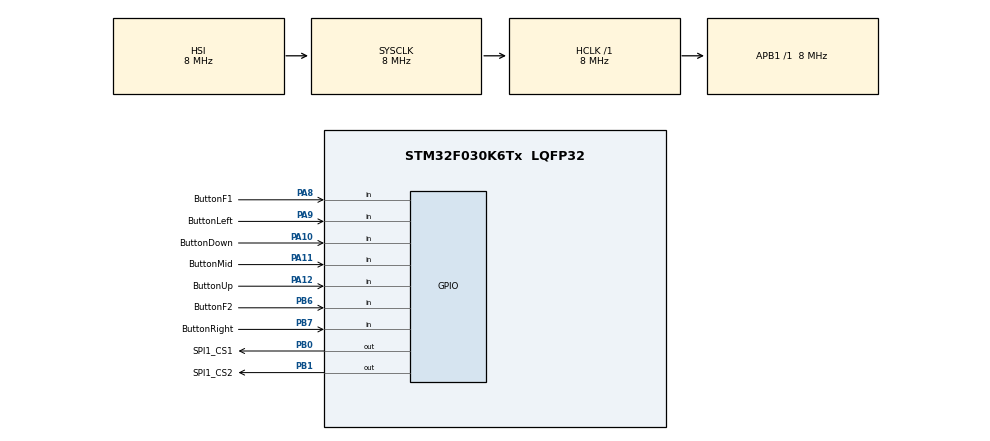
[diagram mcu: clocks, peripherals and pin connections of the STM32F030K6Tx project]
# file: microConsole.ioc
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Mcu.Family=STM32F0
Mcu.Name=STM32F030K6Tx
Mcu.Package=LQFP32
NVIC.TIM14_IRQn=true\:0\:0\:false\:false\:true\:true\:true\:true
NVIC.TIM16_IRQn=true\:0\:0\:false\:false\:true\:true\:true\:true
NVIC.TIM17_IRQn=true\:0\:0\:true\:false\:true\:true\:true\:true
PA10.GPIO_Label=ButtonDown
PA10.GPIO_PuPd=GPIO_PULLUP
PA10.Signal=GPIO_Input
PA11.GPIO_Label=ButtonMid
PA11.GPIO_PuPd=GPIO_PULLUP
PA11.Signal=GPIO_Input
PA12.GPIO_Label=ButtonUp
PA12.GPIO_PuPd=GPIO_PULLUP
PA12.Signal=GPIO_Input
PA8.GPIO_Label=ButtonF1
PA8.GPIO_Mode=GPIO_MODE_INPUT
PA8.GPIO_PuPd=GPIO_PULLUP
PA8.Signal=GPIO_Input
PA9.GPIO_Label=ButtonLeft
PA9.GPIO_PuPd=GPIO_PULLUP
PA9.Signal=GPIO_Input
PB0.GPIO_Label=SPI1_CS1
PB0.GPIO_Speed=GPIO_SPEED_FREQ_HIGH
PB0.PinState=GPIO_PIN_SET
PB0.Signal=GPIO_Output
PB1.GPIO_Label=SPI1_CS2
PB1.GPIO_Speed=GPIO_SPEED_FREQ_HIGH
PB1.PinState=GPIO_PIN_SET
PB1.Signal=GPIO_Output
PB6.GPIO_Label=ButtonF2
PB6.GPIO_PuPd=GPIO_PULLUP
PB6.Signal=GPIO_Input
PB7.GPIO_Label=ButtonRight
PB7.GPIO_PuPd=GPIO_PULLUP
PB7.Signal=GPIO_Input
ProjectManager.HeapSize=0x200
ProjectManager.StackSize=0x400
ProjectManager.TargetToolchain=STM32CubeIDE
RCC.AHBFreq_Value=8000000
RCC.APB1Freq_Value=8000000
RCC.APB1TimFreq_Value=8000000
RCC.HCLKFreq_Value=8000000
RCC.PLLMUL=RCC_PLL_MUL4
RCC.SYSCLKFreq_VALUE=8000000
TIM14.Period=7500-1
TIM14.Prescaler=800-1
TIM16.Period=250-1
TIM16.Prescaler=800-1
TIM17.Period=125-1
TIM17.Prescaler=80-1
VP_TIM14_VS_ClockSourceINT.Mode=Enable_Timer
VP_TIM16_VS_ClockSourceINT.Mode=Enable_Timer
VP_TIM17_VS_ClockSourceINT.Mode=Enable_Timer
board=custom

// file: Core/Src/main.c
/* USER CODE BEGIN Header */
/**
  ******************************************************************************
  * @file           : main.c
  * @brief          : Main program body
  ******************************************************************************
  * @attention
  *
  * Copyright (c) 2023 STMicroelectronics.
  * All rights reserved.
  *
  * This software is licensed under terms that can be found in the LICENSE file
  * in the root directory of this software component.
  * If no LICENSE file comes with this software, it is provided AS-IS.
  *
  ******************************************************************************
  */
/* USER CODE END Header */
#include "main.h"

/* USER CODE BEGIN Includes */
#include <stdbool.h>

#include "displayDriver.h"
#include "buttonDriver.h"
#include "gameWrapper.h"
#include "timers.h"

#include "string.h"
/* USER CODE END Includes */

TIM_HandleTypeDef htim14;
TIM_HandleTypeDef htim16;
TIM_HandleTypeDef htim17;

/* USER CODE BEGIN PV */
uint8_t dataRdy = 0;
bool timerTick = false;
int buttonsPressed[NUM_BUTTONS];
char buttonBindings[NUM_BUTTONS] = {BINDING_UP, BINDING_LEFT, BINDING_ROTATE_RIGHT, BINDING_RIGHT, BINDING_DOWN};
int gameOverFlag = 0;
int linePos = 0;

bool gamePaused = false;

struct game *curGame;
uint8_t curBoard[BOARDSIZE];
uint8_t curGameBuffer[BOARDSIZE];

TIM_HandleTypeDef *tickTimer = &htim14;
TIM_HandleTypeDef *buttonTimer = &htim16;
TIM_HandleTypeDef *displayTimer = &htim17;
/* USER CODE END PV */

void SystemClock_Config(void);
static void MX_GPIO_Init(void);
static void MX_TIM14_Init(void);
static void MX_TIM16_Init(void);
static void MX_TIM17_Init(void);
/* USER CODE BEGIN PFP */
void enableSleepMode(){
	HAL_PWR_EnterSLEEPMode(0, PWR_SLEEPENTRY_WFI);
}

void pauseGame(){

	if(gamePaused){
		return;
	}

	gamePaused = true;
	stopTimer(tickTimer);
}

void unpauseGame(){
	if(!gamePaused){
		return;
	}

	gamePaused = false;
	startTimer(tickTimer);
}

void toggleGamePaused(){
	if(gamePaused){
		unpauseGame();
	}else{
		pauseGame();
	}
}

void setConsoleGame(struct game* nextGame){
	unpauseGame();
	setGame(nextGame);

	curGame = nextGame;

	setTimerPeriod(tickTimer, curGame->tickMs);
	resetTimer(tickTimer);
}

void gameOverHandler(){
	bool animationDone = curGame->gameOverAnimation();
	setDisplayFromBuf(curBoard);

	if(!animationDone){
		return;
	}

	setConsoleGame(curGame);
	setTimerPeriod(tickTimer, curGame->tickMs);
	gameOverFlag = 0;
}

void handleTimerTick(){
	if(gameOverFlag){
		gameOverHandler();
		return;
	}

	enum gameSignal signal = curGame->handleTick();

	if(signal == gameOver){
		gameOverFlag = 1;
		setTimerPeriod(tickTimer, GAME_OVER_MS);
	}

	setDisplayFromBuf(curBoard);
}

bool handleConsoleButtons(int *buttonsPressed){

	if(buttonsPressed[buttonF2]){
		setConsoleGame(curGame->nextGame);
		return true;
	}

	if(buttonsPressed[buttonF1]){
		toggleGamePaused();
		return true;
	}

	return false;
}

void handleGameButtons(int *buttonsPressed){
	for(int i = 0; i < NUM_BUTTONS; i++){
		if(buttonsPressed[i]){
			enum gameSignal sig = curGame->handlePlayerInput(buttonBindings[i]);

			if(sig == skipTimer){
				resetTimer(tickTimer);
				handleTimerTick();
		 	}
		}
	}
}

/* USER CODE END PFP */

int main(void)
{

  /* MCU Configuration--------------------------------------------------------*/

  /* Reset of all peripherals, Initializes the Flash interface and the Systick. */
  HAL_Init();

  /* Configure the system clock */
  SystemClock_Config();

  /* Initialize all configured peripherals */
  MX_GPIO_Init();
  MX_TIM14_Init();
  MX_TIM16_Init();
  MX_TIM17_Init();
  /* USER CODE BEGIN 2 */

  curGame = initGameStructs(&curBoard, &curGameBuffer);
  setConsoleGame(curGame);

  initDisplayTimer(displayTimer);
  initDisplay();
  displayInterruptHandler();

  initButtonTimer(buttonTimer);
  initDrivenButtons();

  HAL_TIM_Base_Start_IT(&htim14);
  HAL_TIM_Base_Start_IT(&htim16);
  HAL_TIM_Base_Start_IT(&htim17);

  /* USER CODE END 2 */

  /* Infinite loop */
  while (1)
  {

    /* USER CODE BEGIN 3 */

	  if(timerTick){
		  handleTimerTick();
		  timerTick = false;
	  }

	  if(!dataRdy || gameOverFlag){
		  enableSleepMode();
		  continue;
	  }

	  bool consoleButtonsPressed = handleConsoleButtons(buttonsPressed);

	  if(!consoleButtonsPressed && !gamePaused){
		  handleGameButtons(buttonsPressed);
	  }

	  setDisplayFromBuf(curBoard);
	  dataRdy = 0;
  }
  /* USER CODE END 3 */
}

void SystemClock_Config(void)
{
  RCC_OscInitTypeDef RCC_OscInitStruct = {0};
  RCC_ClkInitTypeDef RCC_ClkInitStruct = {0};

  /** Initializes the RCC Oscillators according to the specified parameters
  * in the RCC_OscInitTypeDef structure.
  */
  RCC_OscInitStruct.OscillatorType = RCC_OSCILLATORTYPE_HSI;
  RCC_OscInitStruct.HSIState = RCC_HSI_ON;
  RCC_OscInitStruct.HSICalibrationValue = RCC_HSICALIBRATION_DEFAULT;
  RCC_OscInitStruct.PLL.PLLState = RCC_PLL_NONE;
  if (HAL_RCC_OscConfig(&RCC_OscInitStruct) != HAL_OK)
  {
    Error_Handler();
  }

  /** Initializes the CPU, AHB and APB buses clocks
  */
  RCC_ClkInitStruct.ClockType = RCC_CLOCKTYPE_HCLK|RCC_CLOCKTYPE_SYSCLK
                              |RCC_CLOCKTYPE_PCLK1;
  RCC_ClkInitStruct.SYSCLKSource = RCC_SYSCLKSOURCE_HSI;
  RCC_ClkInitStruct.AHBCLKDivider = RCC_SYSCLK_DIV1;
  RCC_ClkInitStruct.APB1CLKDivider = RCC_HCLK_DIV1;

  if (HAL_RCC_ClockConfig(&RCC_ClkInitStruct, FLASH_LATENCY_0) != HAL_OK)
  {
    Error_Handler();
  }
}

static void MX_TIM14_Init(void)
{

  htim14.Instance = TIM14;
  htim14.Init.Prescaler = 800-1;
  htim14.Init.CounterMode = TIM_COUNTERMODE_UP;
  htim14.Init.Period = 7500-1;
  htim14.Init.ClockDivision = TIM_CLOCKDIVISION_DIV1;
  htim14.Init.AutoReloadPreload = TIM_AUTORELOAD_PRELOAD_DISABLE;
  if (HAL_TIM_Base_Init(&htim14) != HAL_OK)
  {
    Error_Handler();
  }

}

static void MX_TIM16_Init(void)
{

  htim16.Instance = TIM16;
  htim16.Init.Prescaler = 800-1;
  htim16.Init.CounterMode = TIM_COUNTERMODE_UP;
  htim16.Init.Period = 250-1;
  htim16.Init.ClockDivision = TIM_CLOCKDIVISION_DIV1;
  htim16.Init.RepetitionCounter = 0;
  htim16.Init.AutoReloadPreload = TIM_AUTORELOAD_PRELOAD_DISABLE;
  if (HAL_TIM_Base_Init(&htim16) != HAL_OK)
  {
    Error_Handler();
  }

}

static void MX_TIM17_Init(void)
{

  htim17.Instance = TIM17;
  htim17.Init.Prescaler = 80-1;
  htim17.Init.CounterMode = TIM_COUNTERMODE_UP;
  htim17.Init.Period = 125-1;
  htim17.Init.ClockDivision = TIM_CLOCKDIVISION_DIV1;
  htim17.Init.RepetitionCounter = 0;
  htim17.Init.AutoReloadPreload = TIM_AUTORELOAD_PRELOAD_DISABLE;
  if (HAL_TIM_Base_Init(&htim17) != HAL_OK)
  {
    Error_Handler();
  }

}

static void MX_GPIO_Init(void)
{
  GPIO_InitTypeDef GPIO_InitStruct = {0};

  /* GPIO Ports Clock Enable */
  __HAL_RCC_GPIOB_CLK_ENABLE();
  __HAL_RCC_GPIOA_CLK_ENABLE();

  /*Configure GPIO pin Output Level */
  HAL_GPIO_WritePin(GPIOB, SPI1_CS1_Pin|SPI1_CS2_Pin, GPIO_PIN_SET);

  /*Configure GPIO pins : SPI1_CS1_Pin SPI1_CS2_Pin */
  GPIO_InitStruct.Pin = SPI1_CS1_Pin|SPI1_CS2_Pin;
  GPIO_InitStruct.Mode = GPIO_MODE_OUTPUT_PP;
  GPIO_InitStruct.Pull = GPIO_NOPULL;
  GPIO_InitStruct.Speed = GPIO_SPEED_FREQ_HIGH;
  HAL_GPIO_Init(GPIOB, &GPIO_InitStruct);

  /*Configure GPIO pins : ButtonF1_Pin ButtonLeft_Pin ButtonDown_Pin ButtonMid_Pin
                           ButtonUp_Pin */
  GPIO_InitStruct.Pin = ButtonF1_Pin|ButtonLeft_Pin|ButtonDown_Pin|ButtonMid_Pin
                          |ButtonUp_Pin;
  GPIO_InitStruct.Mode = GPIO_MODE_INPUT;
  GPIO_InitStruct.Pull = GPIO_PULLUP;
  HAL_GPIO_Init(GPIOA, &GPIO_InitStruct);

  /*Configure GPIO pins : ButtonF2_Pin ButtonRight_Pin */
  GPIO_InitStruct.Pin = ButtonF2_Pin|ButtonRight_Pin;
  GPIO_InitStruct.Mode = GPIO_MODE_INPUT;
  GPIO_InitStruct.Pull = GPIO_PULLUP;
  HAL_GPIO_Init(GPIOB, &GPIO_InitStruct);

}

/* USER CODE BEGIN 4 */

void HAL_TIM_PeriodElapsedCallback(TIM_HandleTypeDef *htim){

	if(htim == displayTimer){
		displayInterruptHandler();

	}

	if(htim == tickTimer){
		timerTick = true;
	}

	if(htim == buttonTimer){
		readButtonAllStates(buttonsPressed);
		dataRdy = 1;
	}
}
/* USER CODE END 4 */

void Error_Handler(void)
{
  __disable_irq();
  while (1)
  {
  }
}
